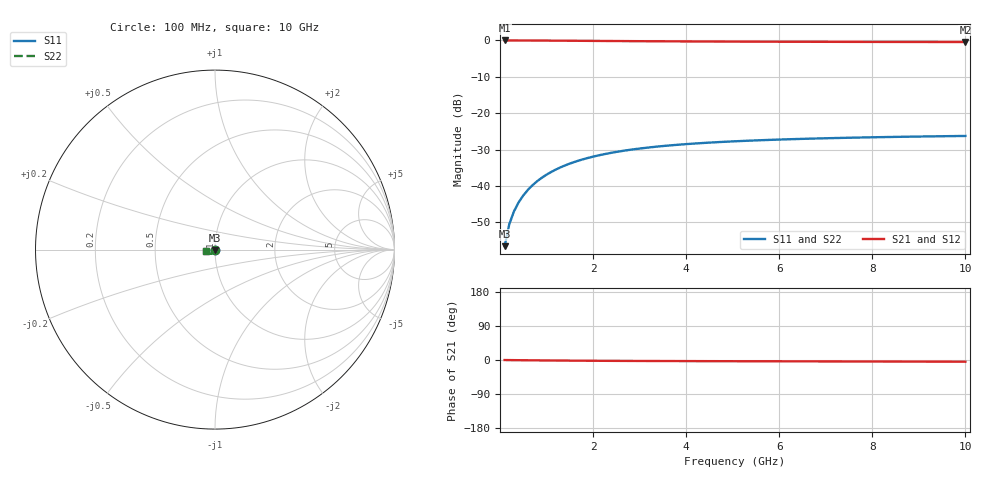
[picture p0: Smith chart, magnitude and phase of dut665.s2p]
! Touchstone file exported from HFSS 2024.1.0
!  File:  C:/UserFiles/LocalFiles/RDL_TSV_Batchsim/temp_TSV1_665_1779793556.aedt
!  Generated:  07:12:28 PM May 26, 2026
!  Design:  TSV1
!  Project:  temp_TSV1_665_1779793556
!  Setup:  Setup1
!  Solution:  Sweep
! Variables:
!  dtsv = 14.45um
!  hbump = 3um
!  htsv = 66.65um
!  lrdl = 252.1521522um
!  p = 40
!  p1 = 54.48um
!  t = 500um
!  trdl = 3um
!  wrdl = 24.89489489um
# GHz S MA R 50.000000
! Terminal data exported
! Port[1] = TSV22_T1
! Port[2] = TSV22_T2
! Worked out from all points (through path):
!   100 points, 100 MHz to 10 GHz, reference 50 ohm
!   highest |S21| = 0.00 dB at 100 MHz (marker M1); lowest = -0.4 dB at 10 GHz (marker M2)
!   lowest |S11| = -56.5 dB at 100 MHz (marker M3), VSWR 1.00, Z = 50 - j0.149 ohm
!   |S11| at or under -10 dB: start of sweep to end of sweep
!   |S22| runs from -56.5 to -26.2 dB; largest |S21 - S12| = 2.1e-15
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0.1  0.001493 -89.1  0.9999 -0.1  0.9999 -0.1  0.001493 -89.1
! Gamma 0 0 0 0
! Port Impedance 50 0 50 0
0.2  0.002984 -92.2  0.9997 -0.3  0.9997 -0.3  0.002984 -92.2
0.3  0.004472 -94.4  0.9994 -0.4  0.9994 -0.4  0.004472 -94.4
0.4  0.005951 -96.5  0.9991 -0.5  0.9991 -0.5  0.005951 -96.5
0.5  0.007413 -98.5  0.9987 -0.6  0.9987 -0.6  0.007413 -98.5
0.6  0.008853 -100.5  0.9981 -0.7  0.9981 -0.7  0.008853 -100.5
0.7  0.01027 -102.3  0.9975 -0.9  0.9975 -0.9  0.01027 -102.3
0.8  0.01165 -104.2  0.9969 -1.0  0.9969 -1.0  0.01165 -104.2
0.9  0.013 -106.0  0.9962 -1.1  0.9962 -1.1  0.013 -106.0
1.1  0.0156 -109.5  0.9946 -1.3  0.9946 -1.3  0.0156 -109.5
1.4  0.01921 -114.4  0.9919 -1.6  0.9919 -1.6  0.01921 -114.4
1.6  0.02141 -117.5  0.99 -1.7  0.99 -1.7  0.02141 -117.5
1.8  0.02345 -120.3  0.988 -1.9  0.988 -1.9  0.02345 -120.3
2.1  0.02622 -124.4  0.9851 -2.1  0.9851 -2.1  0.02622 -124.4
2.5  0.02942 -129.2  0.9814 -2.3  0.9814 -2.3  0.02942 -129.2
2.9  0.03212 -133.5  0.9779 -2.5  0.9779 -2.5  0.03212 -133.5
3.4  0.03493 -138.2  0.974 -2.7  0.974 -2.7  0.03493 -138.2
4.2  0.03843 -144.4  0.9687 -3.0  0.9687 -3.0  0.03843 -144.4
5.1  0.04133 -150.1  0.9641 -3.2  0.9641 -3.2  0.04133 -150.1
6.7  0.04483 -157.9  0.9582 -3.6  0.9582 -3.6  0.04483 -157.9
8.4  0.04722 -164.3  0.9541 -4.1  0.9541 -4.1  0.04722 -164.3
10  0.04877 -169.1  0.9514 -4.5  0.9514 -4.5  0.04877 -169.1
